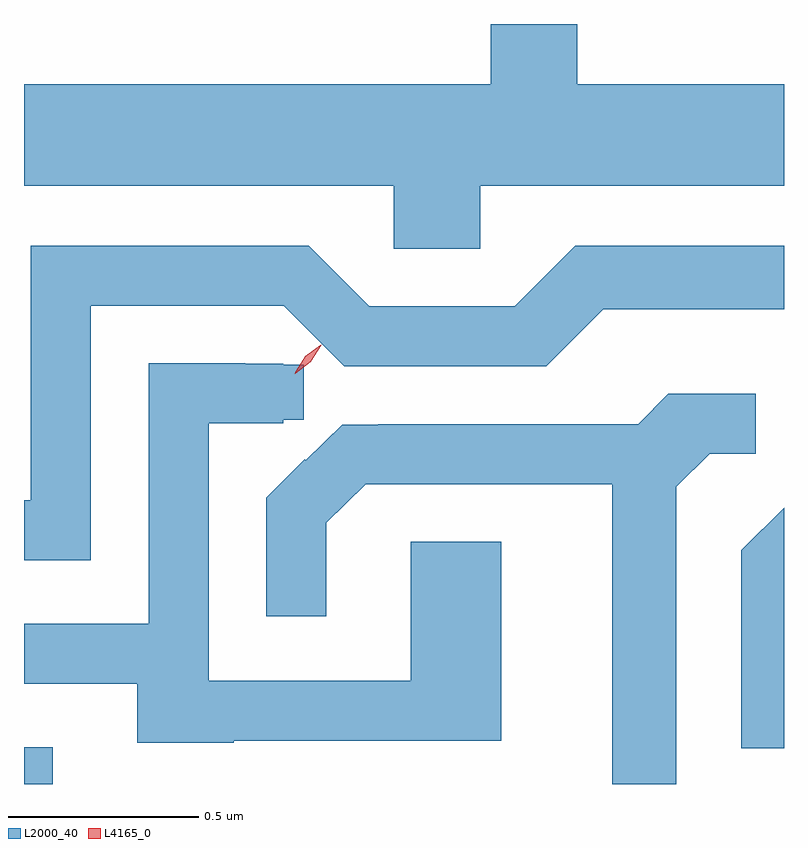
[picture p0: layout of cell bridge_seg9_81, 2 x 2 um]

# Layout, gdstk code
import gdstk
lib = gdstk.Library(unit=1e-6, precision=1e-09)
def R(c, l, rs):  # rectangles x0, y0, x1, y1
    for r in rs: c.add(gdstk.rectangle(r[:2], r[2:], *l))
def P(c, l, *ps):  # polygons
    for p in ps: c.add(gdstk.Polygon(p, *l))
L2000_40 = (2000, 40)
L4165_0 = (4165, 0)

bridge_seg9_81 = lib.new_cell('bridge_seg9_81')
R(bridge_seg9_81, L2000_40, [(1909.453,2010.222,1909.529,2010.319)])
P(bridge_seg9_81, L2000_40, [(1910.654,2011.796),(1911.453,2011.796),(1911.453,2012.064),(1910.909,2012.064),(1910.909,2012.222),(1910.681,2012.222),(1910.681,2012.064),(1909.453,2012.064),(1909.453,2011.796),(1910.426,2011.796),(1910.426,2011.631),(1910.654,2011.631)],
  [(1909.629,2011.481),(1910.136,2011.481),(1910.296,2011.321),(1910.827,2011.321),(1910.977,2011.471),(1911.453,2011.471),(1911.453,2011.639),(1910.904,2011.639),(1910.744,2011.479),(1910.362,2011.479),(1910.202,2011.639),(1909.471,2011.639),(1909.471,2010.969),(1909.453,2010.969),(1909.453,2010.811),(1909.629,2010.811)],
  [(1910.005,2010.336),(1910.709,2010.336),(1910.709,2010.859),(1910.471,2010.859),(1910.471,2010.494),(1909.939,2010.494),(1909.939,2011.171),(1910.035,2011.171),(1910.035,2011.172),(1910.135,2011.172),(1910.135,2011.181),(1910.189,2011.181),(1910.189,2011.325),(1910.135,2011.325),(1910.135,2011.328),(1910.035,2011.328),(1910.035,2011.329),(1909.781,2011.329),(1909.781,2010.644),(1909.453,2010.644),(1909.453,2010.486),(1909.751,2010.486),(1909.751,2010.331),(1910.005,2010.331)],
  [(1911.169,2011.004),(1911.257,2011.091),(1911.378,2011.091),(1911.378,2011.249),(1911.149,2011.249),(1911.069,2011.169),(1910.385,2011.169),(1910.385,2011.168),(1910.29,2011.168),(1910.195,2011.074),(1910.192,2011.076),(1910.091,2010.975),(1910.091,2010.663),(1910.249,2010.663),(1910.249,2010.909),(1910.352,2011.011),(1911.001,2011.011),(1911.001,2010.222),(1911.169,2010.222)],
  [(1911.453,2010.949),(1911.341,2010.837),(1911.341,2010.316),(1911.453,2010.316)])
P(bridge_seg9_81, L4165_0, [(1910.167,2011.305),(1910.167,2011.306),(1910.193,2011.348),(1910.233,2011.377),(1910.233,2011.377),(1910.233,2011.376),(1910.207,2011.334),(1910.167,2011.305)],
  [(1910.166,2011.302),(1910.166,2011.302),(1910.193,2011.347),(1910.235,2011.378),(1910.235,2011.378),(1910.235,2011.377),(1910.208,2011.333),(1910.167,2011.302)])

lib.write_gds('bridge_seg9_81.gds')
